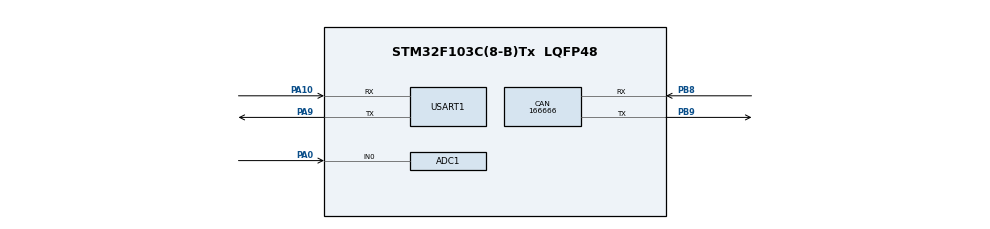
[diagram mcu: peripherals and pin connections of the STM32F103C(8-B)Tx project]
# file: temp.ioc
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ADC1.Channel-1\#ChannelRegularConversion=ADC_CHANNEL_0
ADC1.NbrOfConversionFlag=1
ADC1.Rank-1\#ChannelRegularConversion=1
ADC1.SamplingTime-1\#ChannelRegularConversion=ADC_SAMPLETIME_1CYCLE_5
ADC1.master=1
CAN.CalculateBaudRate=166666
CAN.CalculateTimeBit=6000
CAN.CalculateTimeQuantum=2000.0
Mcu.Family=STM32F1
Mcu.Name=STM32F103C(8-B)Tx
Mcu.Package=LQFP48
NVIC.PriorityGroup=NVIC_PRIORITYGROUP_4
PA0-WKUP.Signal=ADCx_IN0
PA10.Mode=Asynchronous
PA10.Signal=USART1_RX
PA9.Mode=Asynchronous
PA9.Signal=USART1_TX
PB8.Mode=CAN_Activate
PB8.Signal=CAN_RX
PB9.Mode=CAN_Activate
PB9.Signal=CAN_TX
ProjectManager.HeapSize=0x200
ProjectManager.StackSize=0x400
ProjectManager.TargetToolchain=STM32CubeIDE
RCC.APB1Freq_Value=8000000
RCC.APB2Freq_Value=8000000
SH.ADCx_IN0.0=ADC1_IN0,IN0
USART1.VirtualMode=VM_ASYNC
board=custom

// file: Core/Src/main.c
/* USER CODE BEGIN Header */
/**
  ******************************************************************************
  * @file           : main.c
  * @brief          : Main program body
  ******************************************************************************
  * @attention
  *
  * Copyright (c) 2023 STMicroelectronics.
  * All rights reserved.
  *
  * This software is licensed under terms that can be found in the LICENSE file
  * in the root directory of this software component.
  * If no LICENSE file comes with this software, it is provided AS-IS.
  *
  ******************************************************************************
  */
/* USER CODE END Header */
#include "main.h"
#include "string.h"
#include <stdio.h>

ADC_HandleTypeDef hadc1;

CAN_HandleTypeDef hcan;

UART_HandleTypeDef huart1;

void SystemClock_Config(void);
static void MX_GPIO_Init(void);
static void MX_ADC1_Init(void);
static void MX_CAN_Init(void);
static void MX_USART1_UART_Init(void);
/* USER CODE BEGIN PFP */

void Log_Debug(const char* error_msg) {
	HAL_UART_Transmit(&huart1, error_msg , sizeof(error_msg), 1000);
}

// max 4 bytes
void Send_CAN_Data(int value) {
	uint8_t value_bytes[sizeof(value)]; //nie dotykać
	sprintf((char* )value_bytes, "%d ", value);

	CAN_TxHeaderTypeDef TxHeader;
	uint8_t TxData[8];
	uint32_t TxMailbox;

	TxHeader.IDE = CAN_ID_EXT;
	TxHeader.ExtId = 0x1C480480;
	TxHeader.RTR = CAN_RTR_DATA;
	TxHeader.DLC = sizeof(value);

	for (int i = 0; i < sizeof(value); i++) {
		TxData[i] = value_bytes[i];
	}

	if (HAL_CAN_AddTxMessage(&hcan, &TxHeader, TxData, &TxMailbox) != HAL_OK) {
		Error_Handler();
	}
}

/* USER CODE END PFP */

int main(void)
{

  /* MCU Configuration--------------------------------------------------------*/

  /* Reset of all peripherals, Initializes the Flash interface and the Systick. */
  HAL_Init();

  /* Configure the system clock */
  SystemClock_Config();

  /* Initialize all configured peripherals */
  MX_GPIO_Init();
  MX_ADC1_Init();
  MX_CAN_Init();
  MX_USART1_UART_Init();
  /* USER CODE BEGIN 2 */

  uint32_t measured_value;
  uint32_t last_sent = 0;
  /* USER CODE END 2 */

  /* Infinite loop */
  while (1)
  {

	  HAL_Delay(1000);
	  HAL_ADC_Start(&hadc1);
	  HAL_ADC_PollForConversion(&hadc1,HAL_MAX_DELAY);
	  measured_value = HAL_ADC_GetValue(&hadc1);

	  uint8_t measured_value_bytes[sizeof(measured_value)]; //nie dotykać
	  sprintf((char*) measured_value_bytes ,"%lu", measured_value);
	  HAL_UART_Transmit(&huart1, measured_value_bytes, sizeof(measured_value_bytes), 1000);

	  uint32_t time = HAL_GetTick();

	  if (time - last_sent > 5000) {
		  Send_CAN_Data(measured_value);
		  last_sent = time;
	  }
  }
}

void SystemClock_Config(void)
{
  RCC_OscInitTypeDef RCC_OscInitStruct = {0};
  RCC_ClkInitTypeDef RCC_ClkInitStruct = {0};
  RCC_PeriphCLKInitTypeDef PeriphClkInit = {0};

  /** Initializes the RCC Oscillators according to the specified parameters
  * in the RCC_OscInitTypeDef structure.
  */
  RCC_OscInitStruct.OscillatorType = RCC_OSCILLATORTYPE_HSI;
  RCC_OscInitStruct.HSIState = RCC_HSI_ON;
  RCC_OscInitStruct.HSICalibrationValue = RCC_HSICALIBRATION_DEFAULT;
  RCC_OscInitStruct.PLL.PLLState = RCC_PLL_NONE;
  if (HAL_RCC_OscConfig(&RCC_OscInitStruct) != HAL_OK)
  {
    Error_Handler();
  }

  /** Initializes the CPU, AHB and APB buses clocks
  */
  RCC_ClkInitStruct.ClockType = RCC_CLOCKTYPE_HCLK|RCC_CLOCKTYPE_SYSCLK
                              |RCC_CLOCKTYPE_PCLK1|RCC_CLOCKTYPE_PCLK2;
  RCC_ClkInitStruct.SYSCLKSource = RCC_SYSCLKSOURCE_HSI;
  RCC_ClkInitStruct.AHBCLKDivider = RCC_SYSCLK_DIV1;
  RCC_ClkInitStruct.APB1CLKDivider = RCC_HCLK_DIV1;
  RCC_ClkInitStruct.APB2CLKDivider = RCC_HCLK_DIV1;

  if (HAL_RCC_ClockConfig(&RCC_ClkInitStruct, FLASH_LATENCY_0) != HAL_OK)
  {
    Error_Handler();
  }
  PeriphClkInit.PeriphClockSelection = RCC_PERIPHCLK_ADC;
  PeriphClkInit.AdcClockSelection = RCC_ADCPCLK2_DIV2;
  if (HAL_RCCEx_PeriphCLKConfig(&PeriphClkInit) != HAL_OK)
  {
    Error_Handler();
  }
}

static void MX_ADC1_Init(void)
{

  ADC_ChannelConfTypeDef sConfig = {0};

  /** Common config
  */
  hadc1.Instance = ADC1;
  hadc1.Init.ScanConvMode = ADC_SCAN_DISABLE;
  hadc1.Init.ContinuousConvMode = DISABLE;
  hadc1.Init.DiscontinuousConvMode = DISABLE;
  hadc1.Init.ExternalTrigConv = ADC_SOFTWARE_START;
  hadc1.Init.DataAlign = ADC_DATAALIGN_RIGHT;
  hadc1.Init.NbrOfConversion = 1;
  if (HAL_ADC_Init(&hadc1) != HAL_OK)
  {
    Error_Handler();
  }

  /** Configure Regular Channel
  */
  sConfig.Channel = ADC_CHANNEL_0;
  sConfig.Rank = ADC_REGULAR_RANK_1;
  sConfig.SamplingTime = ADC_SAMPLETIME_1CYCLE_5;
  if (HAL_ADC_ConfigChannel(&hadc1, &sConfig) != HAL_OK)
  {
    Error_Handler();
  }

}

static void MX_CAN_Init(void)
{

  hcan.Instance = CAN1;
  hcan.Init.Prescaler = 16;
  hcan.Init.Mode = CAN_MODE_NORMAL;
  hcan.Init.SyncJumpWidth = CAN_SJW_1TQ;
  hcan.Init.TimeSeg1 = CAN_BS1_1TQ;
  hcan.Init.TimeSeg2 = CAN_BS2_1TQ;
  hcan.Init.TimeTriggeredMode = DISABLE;
  hcan.Init.AutoBusOff = DISABLE;
  hcan.Init.AutoWakeUp = DISABLE;
  hcan.Init.AutoRetransmission = DISABLE;
  hcan.Init.ReceiveFifoLocked = DISABLE;
  hcan.Init.TransmitFifoPriority = DISABLE;
  if (HAL_CAN_Init(&hcan) != HAL_OK)
  {
    Error_Handler();
  }

}

static void MX_USART1_UART_Init(void)
{

  huart1.Instance = USART1;
  huart1.Init.BaudRate = 115200;
  huart1.Init.WordLength = UART_WORDLENGTH_8B;
  huart1.Init.StopBits = UART_STOPBITS_1;
  huart1.Init.Parity = UART_PARITY_NONE;
  huart1.Init.Mode = UART_MODE_TX_RX;
  huart1.Init.HwFlowCtl = UART_HWCONTROL_NONE;
  huart1.Init.OverSampling = UART_OVERSAMPLING_16;
  if (HAL_UART_Init(&huart1) != HAL_OK)
  {
    Error_Handler();
  }

}

static void MX_GPIO_Init(void)
{

  /* GPIO Ports Clock Enable */
  __HAL_RCC_GPIOA_CLK_ENABLE();
  __HAL_RCC_GPIOB_CLK_ENABLE();

}

void Error_Handler(void)
{
  __disable_irq();
  while (1)
  {
  }
}
